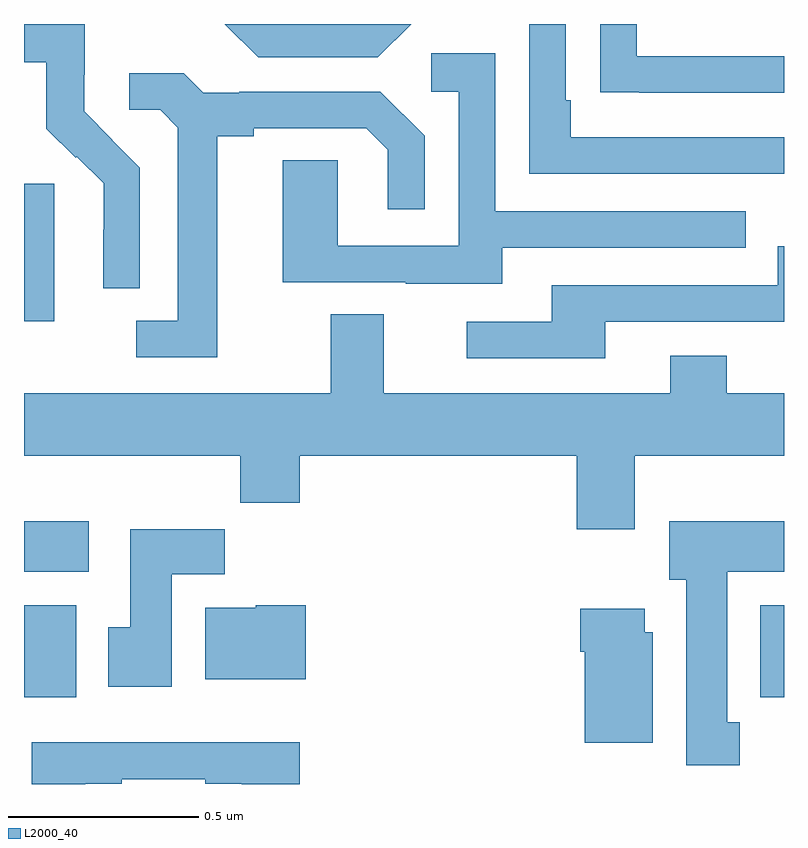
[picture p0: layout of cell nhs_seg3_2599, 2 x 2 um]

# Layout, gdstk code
import gdstk
lib = gdstk.Library(unit=1e-6, precision=1e-09)
def R(c, l, rs):  # rectangles x0, y0, x1, y1
    for r in rs: c.add(gdstk.rectangle(r[:2], r[2:], *l))
def P(c, l, *ps):  # polygons
    for p in ps: c.add(gdstk.Polygon(p, *l))
L2000_40 = (2000, 40)

nhs_seg3_2599 = lib.new_cell('nhs_seg3_2599')
R(nhs_seg3_2599, L2000_40, [(143,685.628,143.137,685.87), (144.938,685.628,145,685.87), (143,685.958,143.17,686.092), (143,686.618,143.08,686.979)])
P(nhs_seg3_2599, L2000_40, [(143.304,687.022),(143.231,687.095),(143.232,687.096),(143.158,687.17),(143.158,687.267),(143.16,687.267),(143.16,687.4),(143,687.4),(143,687.3),(143.059,687.3),(143.059,687.125),(143.136,687.048),(143.139,687.051),(143.21,686.981),(143.21,686.858),(143.208,686.858),(143.208,686.704),(143.304,686.704)],
  [(144.019,687.4),(143.528,687.4),(143.616,687.312),(143.931,687.312)],
  [(145,687.102),(144.439,687.102),(144.439,687.199),(144.426,687.199),(144.426,687.4),(144.33,687.4),(144.33,687.006),(145,687.006)],
  [(145,687.315),(144.613,687.315),(144.613,687.4),(144.517,687.4),(144.517,687.22),(144.619,687.22),(144.619,687.219),(145,687.219)],
  [(144.259,686.811),(144.899,686.811),(144.899,686.907),(144.24,686.907),(144.24,687.323),(144.072,687.323),(144.072,687.222),(144.144,687.222),(144.144,686.817),(143.826,686.817),(143.826,687.041),(143.681,687.041),(143.681,686.721),(144.005,686.721),(144.005,686.717),(144.259,686.717)],
  [(143.509,687.104),(143.605,687.104),(143.605,687.126),(143.9,687.126),(143.957,687.069),(143.957,686.913),(144.054,686.913),(144.054,687.106),(143.938,687.222),(143.566,687.222),(143.566,687.219),(143.472,687.219),(143.42,687.271),(143.277,687.271),(143.277,687.174),(143.358,687.174),(143.405,687.127),(143.405,686.619),(143.295,686.619),(143.295,686.523),(143.509,686.523)],
  [(144.529,686.616),(145,686.616),(145,686.815),(144.984,686.815),(144.984,686.712),(144.389,686.712),(144.389,686.616),(144.165,686.616),(144.165,686.52),(144.529,686.52)],
  [(144.607,686.264),(145,686.264),(145,686.428),(144.849,686.428),(144.849,686.527),(144.701,686.527),(144.701,686.428),(143.947,686.428),(143.947,686.636),(143.807,686.636),(143.807,686.428),(143,686.428),(143,686.264),(143.569,686.264),(143.569,686.14),(143.726,686.14),(143.726,686.264),(144.455,686.264),(144.455,686.07),(144.607,686.07)],
  [(144.883,685.562),(144.85,685.562),(144.85,685.958),(145,685.958),(145,686.092),(144.698,686.092),(144.698,685.938),(144.743,685.938),(144.743,685.449),(144.883,685.449)],
  [(143.389,685.952),(143.528,685.952),(143.528,686.071),(143.279,686.071),(143.279,685.812),(143.222,685.812),(143.222,685.656),(143.389,685.656)],
  [(143.741,685.87),(143.61,685.87),(143.61,685.864),(143.477,685.864),(143.477,685.676),(143.741,685.676)],
  [(144.655,685.8),(144.634,685.8),(144.634,685.861),(144.464,685.861),(144.464,685.748),(144.476,685.748),(144.476,685.508),(144.655,685.508)],
  [(143.161,685.401),(143.257,685.401),(143.257,685.413),(143.477,685.413),(143.477,685.401),(143.573,685.401),(143.573,685.4),(143.726,685.4),(143.726,685.51),(143.021,685.51),(143.021,685.4),(143.161,685.4)])

lib.write_gds('nhs_seg3_2599.gds')
